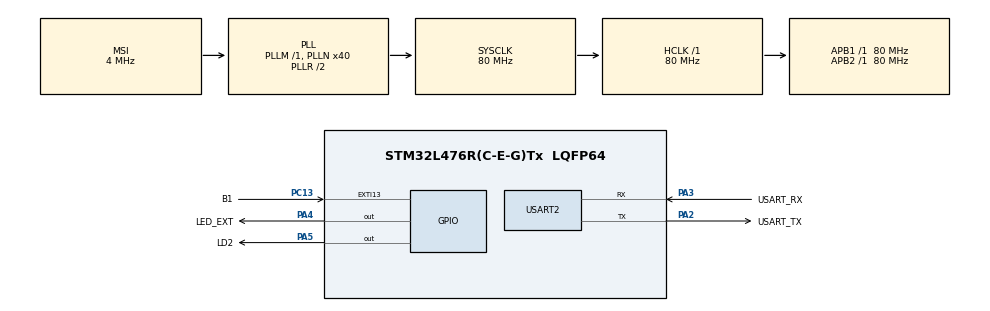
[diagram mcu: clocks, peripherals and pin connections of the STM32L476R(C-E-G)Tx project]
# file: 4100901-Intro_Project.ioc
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Mcu.Family=STM32L4
Mcu.Name=STM32L476R(C-E-G)Tx
Mcu.Package=LQFP64
NVIC.EXTI15_10_IRQn=true\:0\:0\:false\:false\:true\:true\:true\:true
NVIC.PriorityGroup=NVIC_PRIORITYGROUP_4
NVIC.USART2_IRQn=true\:0\:0\:false\:false\:true\:true\:true\:true
PA13\ (JTMS-SWDIO).GPIO_Label=TMS
PA13\ (JTMS-SWDIO).Mode=Serial_Wire
PA13\ (JTMS-SWDIO).Signal=SYS_JTMS-SWDIO
PA14\ (JTCK-SWCLK).GPIO_Label=TCK
PA14\ (JTCK-SWCLK).Mode=Serial_Wire
PA14\ (JTCK-SWCLK).Signal=SYS_JTCK-SWCLK
PA2.GPIO_Label=USART_TX
PA2.GPIO_Mode=GPIO_MODE_AF_PP
PA2.GPIO_PuPd=GPIO_NOPULL
PA2.GPIO_Speed=GPIO_SPEED_FREQ_VERY_HIGH
PA2.Mode=Asynchronous
PA2.Signal=USART2_TX
PA3.GPIO_Label=USART_RX
PA3.GPIO_Mode=GPIO_MODE_AF_PP
PA3.GPIO_PuPd=GPIO_NOPULL
PA3.GPIO_Speed=GPIO_SPEED_FREQ_VERY_HIGH
PA3.Mode=Asynchronous
PA3.Signal=USART2_RX
PA4.GPIO_Label=LED_EXT
PA4.Signal=GPIO_Output
PA5.GPIO_Label=LD2
PA5.Signal=GPIO_Output
PB3\ (JTDO-TRACESWO).GPIO_Label=SWO
PB3\ (JTDO-TRACESWO).Signal=SYS_JTDO-SWO
PC13.GPIO_Label=B1
PC13.Signal=GPXTI13
PC14-OSC32_IN\ (PC14).Mode=LSE-External-Oscillator
PC14-OSC32_IN\ (PC14).Signal=RCC_OSC32_IN
PC15-OSC32_OUT\ (PC15).Mode=LSE-External-Oscillator
PC15-OSC32_OUT\ (PC15).Signal=RCC_OSC32_OUT
PH0-OSC_IN\ (PH0).Signal=RCC_OSC_IN
PH1-OSC_OUT\ (PH1).Signal=RCC_OSC_OUT
ProjectManager.HeapSize=0x200
ProjectManager.StackSize=0x400
ProjectManager.TargetToolchain=CMake
RCC.ADCFreq_Value=16000000
RCC.AHBFreq_Value=80000000
RCC.APB1Freq_Value=80000000
RCC.APB1TimFreq_Value=80000000
RCC.APB2Freq_Value=80000000
RCC.APB2TimFreq_Value=80000000
RCC.CortexFreq_Value=80000000
RCC.HCLKFreq_Value=80000000
RCC.HSE_VALUE=8000000
RCC.HSI_VALUE=16000000
RCC.MSI_VALUE=4000000
RCC.PLLN=40
RCC.PREFETCH_ENABLE=1
RCC.SYSCLKFreq_VALUE=80000000
RCC.SYSCLKSource=RCC_SYSCLKSOURCE_PLLCLK
RCC.USBFreq_Value=16000000
RCC.VCOOutputFreq_Value=160000000
USART2.VirtualMode-Asynchronous=VM_ASYNC
board=NUCLEO-L476RG

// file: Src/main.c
/* USER CODE BEGIN Header */
/**
  ******************************************************************************
  * @file           : main.c
  * @brief          : Main program body
  ******************************************************************************
  * @attention
  *
  * Copyright (c) 2025 STMicroelectronics.
  * All rights reserved.
  *
  * This software is licensed under terms that can be found in the LICENSE file
  * in the root directory of this software component.
  * If no LICENSE file comes with this software, it is provided AS-IS.
  *
  ******************************************************************************
  */
/* USER CODE END Header */
#include "main.h"
#include "usart.h"
#include "gpio.h"

/* USER CODE BEGIN Includes */
#include <stdio.h> // Para usar sprintf
#include <string.h> // Para usar strlen
/* USER CODE END Includes */

/* USER CODE BEGIN PV */

// Variables para UART
uint8_t rx_data; // Buffer para recibir 1 byte por UART
char tx_buffer[50]; // Buffer para transmitir mensajes por UART

// Variables para el botón y LED externo
volatile uint8_t button_flag = 0; // Flag para indicar que el botón fue presionado (volatile porque se modifica en interrupción)
volatile uint32_t led_ext_off_time = 0; // Momento en que se debe apagar el LED externo
volatile uint32_t ld2_off_time = 0;      // Momento en que se debe apagar el LED LD2

/* USER CODE END PV */

void SystemClock_Config(void);

/* USER CODE BEGIN 0 */

// Callback que se ejecuta cuando se completa la recepción de 1 byte por UART2
void HAL_UART_RxCpltCallback(UART_HandleTypeDef *huart)
{
  if (huart->Instance == USART2)
  {
    // Hacemos eco del caracter recibido
    HAL_UART_Transmit(&huart2, &rx_data, 1, 10); // Enviar el byte recibido de vuelta

    // Volvemos a habilitar la interrupción de recepción UART para el próximo byte
    HAL_UART_Receive_IT(&huart2, &rx_data, 1);
  }
}

/* USER CODE END 0 */

int main(void)
{

  /* MCU Configuration--------------------------------------------------------*/

  /* Reset of all peripherals, Initializes the Flash interface and the Systick. */
  HAL_Init();

  /* Configure the system clock */
  SystemClock_Config();

  /* Initialize all configured peripherals */
  MX_GPIO_Init();
  MX_USART2_UART_Init();
  /* USER CODE BEGIN 2 */

  // Habilitar la recepción UART por interrupción por primera vez
  HAL_UART_Receive_IT(&huart2, &rx_data, 1);

  // Mensaje de bienvenida por UART
  char *welcome_msg = "Sistema de Control Basico - Listo\r\n";
  HAL_UART_Transmit(&huart2, (uint8_t*)welcome_msg, strlen(welcome_msg), 100);

  /* USER CODE END 2 */

  /* Infinite loop */
  while (1)
  {

    /* USER CODE BEGIN 3 */
        // ---- Heartbeat LED ----
        static uint32_t last_heartbeat_time = 0;
        if (HAL_GetTick() - last_heartbeat_time >= 200) // Cada 200 ms
        {
          HAL_GPIO_TogglePin(LD2_GPIO_Port, LD2_Pin); // Cambia el estado del LED LD2
          last_heartbeat_time = HAL_GetTick();
        }

        // ---- Procesamiento del Botón ----
        if (button_flag == 1)
        {
          // 1. Encender LED Externo
          HAL_GPIO_WritePin(LED_EXT_GPIO_Port, LED_EXT_Pin, GPIO_PIN_SET); // Enciende LED_EXT

          // 2. Encender LED LD2
          HAL_GPIO_WritePin(LD2_GPIO_Port, LD2_Pin, GPIO_PIN_SET); // Enciende LD2

          // 3. Calcular cuándo apagarlos (1 segundo desde ahora)
          led_ext_off_time = HAL_GetTick() + 1000;
          ld2_off_time = HAL_GetTick() + 1000;

          // 4. Enviar mensaje por UART
          sprintf(tx_buffer, "Boton B1 presionado por el usuario! LED EXT ON.\r\n");
          HAL_UART_Transmit(&huart2, (uint8_t*)tx_buffer, strlen(tx_buffer), 100);

          // 5. Limpiar el flag
          button_flag = 0;
        }

        // ---- Control del Apagado del LED Externo ----
        if (led_ext_off_time != 0 && HAL_GetTick() >= led_ext_off_time)
        {
          HAL_GPIO_WritePin(LED_EXT_GPIO_Port, LED_EXT_Pin, GPIO_PIN_RESET); // Apaga LED_EXT
          sprintf(tx_buffer, "LED EXT OFF (timeout).\r\n");
          HAL_UART_Transmit(&huart2, (uint8_t*)tx_buffer, strlen(tx_buffer), 100);
          led_ext_off_time = 0;
        }

        // ---- Control del Apagado del LED LD2 ----
        if (ld2_off_time != 0 && HAL_GetTick() >= ld2_off_time)
        {
          HAL_GPIO_WritePin(LD2_GPIO_Port, LD2_Pin, GPIO_PIN_RESET); // Apaga LD2
          sprintf(tx_buffer, "LED LD2 OFF (timeout).\r\n");
          HAL_UART_Transmit(&huart2, (uint8_t*)tx_buffer, strlen(tx_buffer), 100);
          ld2_off_time = 0;
        }
  }
  /* USER CODE END 3 */
}

void SystemClock_Config(void)
{
  RCC_OscInitTypeDef RCC_OscInitStruct = {0};
  RCC_ClkInitTypeDef RCC_ClkInitStruct = {0};

  /** Configure the main internal regulator output voltage
  */
  if (HAL_PWREx_ControlVoltageScaling(PWR_REGULATOR_VOLTAGE_SCALE1) != HAL_OK)
  {
    Error_Handler();
  }

  /** Configure LSE Drive Capability
  */
  HAL_PWR_EnableBkUpAccess();
  __HAL_RCC_LSEDRIVE_CONFIG(RCC_LSEDRIVE_LOW);

  /** Initializes the RCC Oscillators according to the specified parameters
  * in the RCC_OscInitTypeDef structure.
  */
  RCC_OscInitStruct.OscillatorType = RCC_OSCILLATORTYPE_LSE|RCC_OSCILLATORTYPE_MSI;
  RCC_OscInitStruct.LSEState = RCC_LSE_ON;
  RCC_OscInitStruct.MSIState = RCC_MSI_ON;
  RCC_OscInitStruct.MSICalibrationValue = 0;
  RCC_OscInitStruct.MSIClockRange = RCC_MSIRANGE_6;
  RCC_OscInitStruct.PLL.PLLState = RCC_PLL_ON;
  RCC_OscInitStruct.PLL.PLLSource = RCC_PLLSOURCE_MSI;
  RCC_OscInitStruct.PLL.PLLM = 1;
  RCC_OscInitStruct.PLL.PLLN = 40;
  RCC_OscInitStruct.PLL.PLLP = RCC_PLLP_DIV7;
  RCC_OscInitStruct.PLL.PLLQ = RCC_PLLQ_DIV2;
  RCC_OscInitStruct.PLL.PLLR = RCC_PLLR_DIV2;
  if (HAL_RCC_OscConfig(&RCC_OscInitStruct) != HAL_OK)
  {
    Error_Handler();
  }

  /** Initializes the CPU, AHB and APB buses clocks
  */
  RCC_ClkInitStruct.ClockType = RCC_CLOCKTYPE_HCLK|RCC_CLOCKTYPE_SYSCLK
                              |RCC_CLOCKTYPE_PCLK1|RCC_CLOCKTYPE_PCLK2;
  RCC_ClkInitStruct.SYSCLKSource = RCC_SYSCLKSOURCE_PLLCLK;
  RCC_ClkInitStruct.AHBCLKDivider = RCC_SYSCLK_DIV1;
  RCC_ClkInitStruct.APB1CLKDivider = RCC_HCLK_DIV1;
  RCC_ClkInitStruct.APB2CLKDivider = RCC_HCLK_DIV1;

  if (HAL_RCC_ClockConfig(&RCC_ClkInitStruct, FLASH_LATENCY_4) != HAL_OK)
  {
    Error_Handler();
  }

  /** Enable MSI Auto calibration
  */
  HAL_RCCEx_EnableMSIPLLMode();
}

/* USER CODE BEGIN 4 */

// Callback que se ejecuta cuando ocurre una interrupción externa (Botón B1)
void HAL_GPIO_EXTI_Callback(uint16_t GPIO_Pin)
{
  static uint32_t last_press_time = 0; // Guarda el tick de la última pulsación válida
  uint32_t current_time = HAL_GetTick(); // Obtiene el tiempo actual en ms

  if (GPIO_Pin == B1_Pin) // Nos aseguramos que la interrupción es del B1
  {
    // Debounce sencillo: ignorar si han pasado menos de 200ms desde la última vez
    if (current_time - last_press_time > 200)
    {
      button_flag = 1; // Activamos el flag para que el bucle principal lo procese
      last_press_time = current_time; // Actualizamos el tiempo de la última pulsación válida
    }
  }
}

/* USER CODE END 4 */

void Error_Handler(void)
{
  __disable_irq();
  while (1)
  {
  }
}
